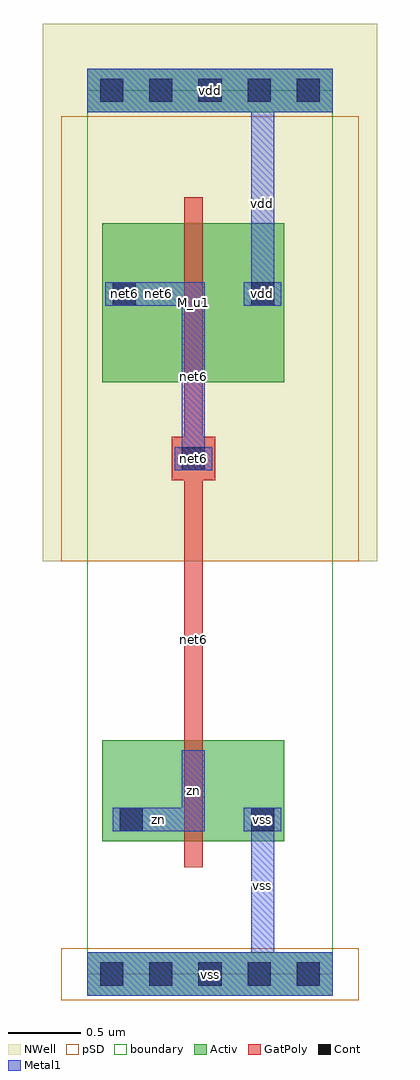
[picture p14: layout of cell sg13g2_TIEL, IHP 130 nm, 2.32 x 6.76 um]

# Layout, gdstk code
import gdstk
lib = gdstk.Library(unit=1e-6, precision=1e-09)
def R(c, l, rs):  # rectangles x0, y0, x1, y1
    for r in rs: c.add(gdstk.rectangle(r[:2], r[2:], *l))
def A(c, l, x, y, w, h, nx, ny, dx, dy):  # array of equal rectangles
    R(c, l, [(x+i*dx, y+j*dy, x+i*dx+w, y+j*dy+h) for i in range(nx) for j in range(ny)])
Activ = (1, 0)
GatPoly = (5, 0)
Cont = (6, 0)
Metal1 = (8, 0)
pSD = (14, 0)
NWell = (31, 0)
TEXT = (63, 0)
boundary = (189, 4)

sg13g2_tiel = lib.new_cell('sg13g2_TIEL')
R(sg13g2_tiel, Activ, [(0,-0.15,1.7,0.15), (0.105,0.92,1.365,1.62), (0.155,0.92,0.455,1.22), (1.065,0.92,1.365,1.22), (0.105,4.1,1.365,5.2), (0.105,4.56,0.405,4.86), (1.065,4.56,1.365,4.86), (0,5.97,1.7,6.27)])
R(sg13g2_tiel, GatPoly, [(0.67,0.74,0.8,1.8), (0.67,1.005,0.8,3.635), (0.585,3.42,0.885,3.72), (0.67,3.505,0.8,4.775), (0.67,3.92,0.8,5.38)])
A(sg13g2_tiel, Cont, 0.09, -0.08, 0.16, 0.16, 5, 2, 0.34, 6.12)
R(sg13g2_tiel, Cont, [(0.225,0.99,0.385,1.15), (1.135,0.99,1.295,1.15), (0.655,3.49,0.815,3.65), (0.175,4.63,0.335,4.79), (1.135,4.63,1.295,4.79)])
R(sg13g2_tiel, Metal1, [(0,-0.15,1.7,0.15), (1.135,0.07,1.295,1.15), (0.175,0.99,0.815,1.15), (0.175,0.99,0.435,1.15), (0.655,0.99,0.815,1.55), (1.085,0.99,1.345,1.15), (0.605,3.49,0.865,3.65), (0.655,3.49,0.815,4.79), (0.125,4.63,0.385,4.79), (0.175,4.63,0.815,4.79), (1.085,4.63,1.345,4.79), (1.135,4.63,1.295,6.05), (0,5.97,1.7,6.27)])
R(sg13g2_tiel, pSD, [(-0.18,-0.18,1.88,0.18), (-0.18,2.86,1.88,5.94)])
R(sg13g2_tiel, NWell, [(-0.31,2.86,2.01,6.58)])
R(sg13g2_tiel, boundary, [(0,0,1.7,6.12)])
sg13g2_tiel.add(gdstk.FlexPath([(0.105,0.41),(1.365,0.41)], 0, ends="flush", simple_path=True, layer=63, datatype=0))  # TEXT
sg13g2_tiel.add(gdstk.FlexPath([(0.105,1.07),(1.365,1.07)], 0, ends="flush", simple_path=True, layer=63, datatype=0))  # TEXT
sg13g2_tiel.add(gdstk.FlexPath([(0.105,1.47),(1.365,1.47)], 0, ends="flush", simple_path=True, layer=63, datatype=0))  # TEXT
sg13g2_tiel.add(gdstk.FlexPath([(0.105,2.13),(1.365,2.13)], 0, ends="flush", simple_path=True, layer=63, datatype=0))  # TEXT
sg13g2_tiel.add(gdstk.FlexPath([(0.105,2.61),(1.365,2.61)], 0, ends="flush", simple_path=True, layer=63, datatype=0))  # TEXT
sg13g2_tiel.add(gdstk.FlexPath([(0.105,3.09),(1.365,3.09)], 0, ends="flush", simple_path=True, layer=63, datatype=0))  # TEXT
sg13g2_tiel.add(gdstk.FlexPath([(0.105,3.57),(1.365,3.57)], 0, ends="flush", simple_path=True, layer=63, datatype=0))  # TEXT
sg13g2_tiel.add(gdstk.FlexPath([(0.105,4.25),(1.365,4.25)], 0, ends="flush", simple_path=True, layer=63, datatype=0))  # TEXT
sg13g2_tiel.add(gdstk.FlexPath([(0.105,4.71),(1.365,4.71)], 0, ends="flush", simple_path=True, layer=63, datatype=0))  # TEXT
sg13g2_tiel.add(gdstk.FlexPath([(0.105,5.05),(1.365,5.05)], 0, ends="flush", simple_path=True, layer=63, datatype=0))  # TEXT
sg13g2_tiel.add(gdstk.FlexPath([(0.105,5.71),(1.365,5.71)], 0, ends="flush", simple_path=True, layer=63, datatype=0))  # TEXT
sg13g2_tiel.add(gdstk.FlexPath([(0.255,0.07),(0.255,6.05)], 0, ends="flush", simple_path=True, layer=63, datatype=0))  # TEXT
sg13g2_tiel.add(gdstk.FlexPath([(0.735,0.07),(0.735,6.05)], 0, ends="flush", simple_path=True, layer=63, datatype=0))  # TEXT
sg13g2_tiel.add(gdstk.FlexPath([(1.215,0.07),(1.215,6.05)], 0, ends="flush", simple_path=True, layer=63, datatype=0))  # TEXT
sg13g2_tiel.add(gdstk.Label('net6', (0.255,4.71), layer=6, texttype=0))
sg13g2_tiel.add(gdstk.Label('net6', (0.735,3.57), layer=6, texttype=0))
sg13g2_tiel.add(gdstk.Label('vss', (1.215,1.07), layer=6, texttype=0))
sg13g2_tiel.add(gdstk.Label('vdd', (1.215,4.71), layer=6, texttype=0))
sg13g2_tiel.add(gdstk.Label('net6', (0.255,4.71), layer=8, texttype=0))
sg13g2_tiel.add(gdstk.Label('net6', (0.735,3.57), layer=8, texttype=0))
sg13g2_tiel.add(gdstk.Label('net6', (0.735,4.14), layer=8, texttype=0))
sg13g2_tiel.add(gdstk.Label('net6', (0.495,4.71), layer=8, texttype=0))
sg13g2_tiel.add(gdstk.Label('vss', (1.215,1.07), layer=8, texttype=0))
sg13g2_tiel.add(gdstk.Label('vss', (1.215,0.61), layer=8, texttype=0))
sg13g2_tiel.add(gdstk.Label('vdd', (1.215,4.71), layer=8, texttype=0))
sg13g2_tiel.add(gdstk.Label('vdd', (1.215,5.34), layer=8, texttype=0))
sg13g2_tiel.add(gdstk.Label('zn', (0.495,1.07), layer=8, texttype=25))
sg13g2_tiel.add(gdstk.Label('zn', (0.735,1.27), layer=8, texttype=25))
sg13g2_tiel.add(gdstk.Label('vss', (0.85,0), layer=8, texttype=25))
sg13g2_tiel.add(gdstk.Label('vdd', (0.85,6.12), layer=8, texttype=25))
sg13g2_tiel.add(gdstk.Label('M_u2', (0.735,1.27), layer=1, texttype=0))
sg13g2_tiel.add(gdstk.Label('M_u1', (0.735,4.65), layer=1, texttype=0))
sg13g2_tiel.add(gdstk.Label('net6', (0.255,4.71), layer=1, texttype=0))
sg13g2_tiel.add(gdstk.Label('vss', (1.215,1.07), layer=1, texttype=0))
sg13g2_tiel.add(gdstk.Label('vdd', (1.215,4.71), layer=1, texttype=0))
sg13g2_tiel.add(gdstk.Label('net6', (0.735,2.32), layer=5, texttype=0))
sg13g2_tiel.add(gdstk.Label('net6', (0.735,3.57), layer=5, texttype=0))
sg13g2_tiel.add(gdstk.Label('net6', (0.735,4.14), layer=5, texttype=0))

lib.write_gds('sg13g2_TIEL.gds')
